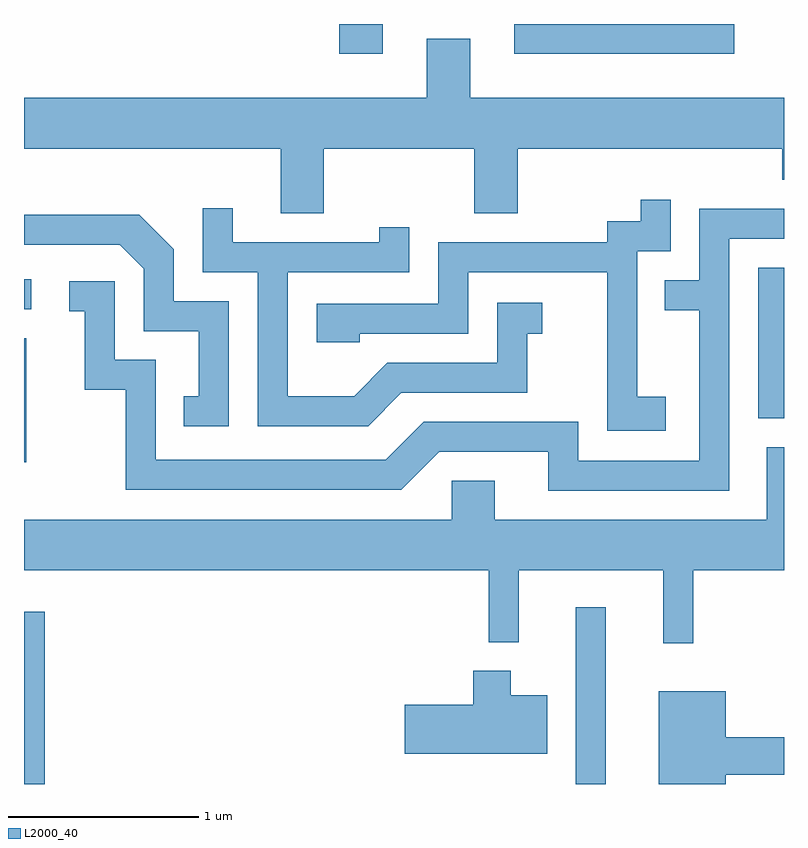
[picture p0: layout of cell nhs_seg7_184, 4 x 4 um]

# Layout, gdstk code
import gdstk
lib = gdstk.Library(unit=1e-6, precision=1e-09)
def R(c, l, rs):  # rectangles x0, y0, x1, y1
    for r in rs: c.add(gdstk.rectangle(r[:2], r[2:], *l))
def P(c, l, *ps):  # polygons
    for p in ps: c.add(gdstk.Polygon(p, *l))
L2000_40 = (2000, 40)

nhs_seg7_184 = lib.new_cell('nhs_seg7_184')
R(nhs_seg7_184, L2000_40, [(189.611,1764.252,189.719,1765.158), (192.516,1764.252,192.674,1765.183), (189.611,1765.946,189.624,1766.599), (193.476,1766.176,193.611,1766.969), (189.611,1766.751,189.648,1766.909), (191.271,1768.096,191.499,1768.252), (192.191,1768.096,193.348,1768.252)])
P(nhs_seg7_184, L2000_40, [(191.189,1767.596),(191.981,1767.596),(191.981,1767.256),(192.209,1767.256),(192.209,1767.596),(193.601,1767.596),(193.601,1767.431),(193.611,1767.431),(193.611,1767.864),(191.959,1767.864),(191.959,1768.174),(191.731,1768.174),(191.731,1767.864),(189.611,1767.864),(189.611,1767.596),(190.961,1767.596),(190.961,1767.256),(191.189,1767.256)],
  [(192.989,1766.289),(192.839,1766.289),(192.839,1767.056),(193.014,1767.056),(193.014,1767.328),(192.856,1767.328),(192.856,1767.214),(192.681,1767.214),(192.681,1767.104),(191.791,1767.104),(191.791,1766.779),(191.151,1766.779),(191.151,1766.576),(191.379,1766.576),(191.379,1766.621),(191.949,1766.621),(191.949,1766.946),(192.681,1766.946),(192.681,1766.111),(192.989,1766.111)],
  [(191.597,1766.311),(192.259,1766.311),(192.259,1766.621),(192.338,1766.621),(192.338,1766.784),(192.101,1766.784),(192.101,1766.469),(191.524,1766.469),(191.349,1766.294),(190.999,1766.294),(190.999,1766.946),(191.639,1766.946),(191.639,1767.183),(191.481,1767.183),(191.481,1767.104),(190.709,1767.104),(190.709,1767.283),(190.551,1767.283),(190.551,1766.946),(190.841,1766.946),(190.841,1766.136),(191.422,1766.136)],
  [(193.324,1767.121),(193.611,1767.121),(193.611,1767.279),(193.166,1767.279),(193.166,1766.904),(192.983,1766.904),(192.983,1766.746),(193.166,1766.746),(193.166,1765.954),(192.529,1765.954),(192.529,1766.159),(191.714,1766.159),(191.514,1765.959),(190.304,1765.959),(190.304,1766.484),(190.089,1766.484),(190.089,1766.899),(189.848,1766.899),(189.848,1766.741),(189.931,1766.741),(189.931,1766.326),(190.146,1766.326),(190.146,1765.801),(191.597,1765.801),(191.797,1766.001),(192.371,1766.001),(192.371,1765.796),(193.324,1765.796)],
  [(190.689,1766.794),(190.399,1766.794),(190.399,1767.067),(190.217,1767.249),(189.611,1767.249),(189.611,1767.091),(190.114,1767.091),(190.241,1766.964),(190.241,1766.636),(190.531,1766.636),(190.531,1766.294),(190.453,1766.294),(190.453,1766.136),(190.689,1766.136)],
  [(193.134,1765.376),(193.611,1765.376),(193.611,1766.024),(193.521,1766.024),(193.521,1765.644),(192.089,1765.644),(192.089,1765.849),(191.861,1765.849),(191.861,1765.644),(189.611,1765.644),(189.611,1765.376),(192.056,1765.376),(192.056,1764.998),(192.214,1764.998),(192.214,1765.376),(192.976,1765.376),(192.976,1764.993),(193.134,1764.993)],
  [(192.364,1764.719),(192.174,1764.719),(192.174,1764.849),(191.976,1764.849),(191.976,1764.669),(191.616,1764.669),(191.616,1764.411),(192.364,1764.411)],
  [(193.304,1764.301),(193.611,1764.301),(193.611,1764.499),(193.304,1764.499),(193.304,1764.739),(192.951,1764.739),(192.951,1764.252),(193.304,1764.252)])

lib.write_gds('nhs_seg7_184.gds')
